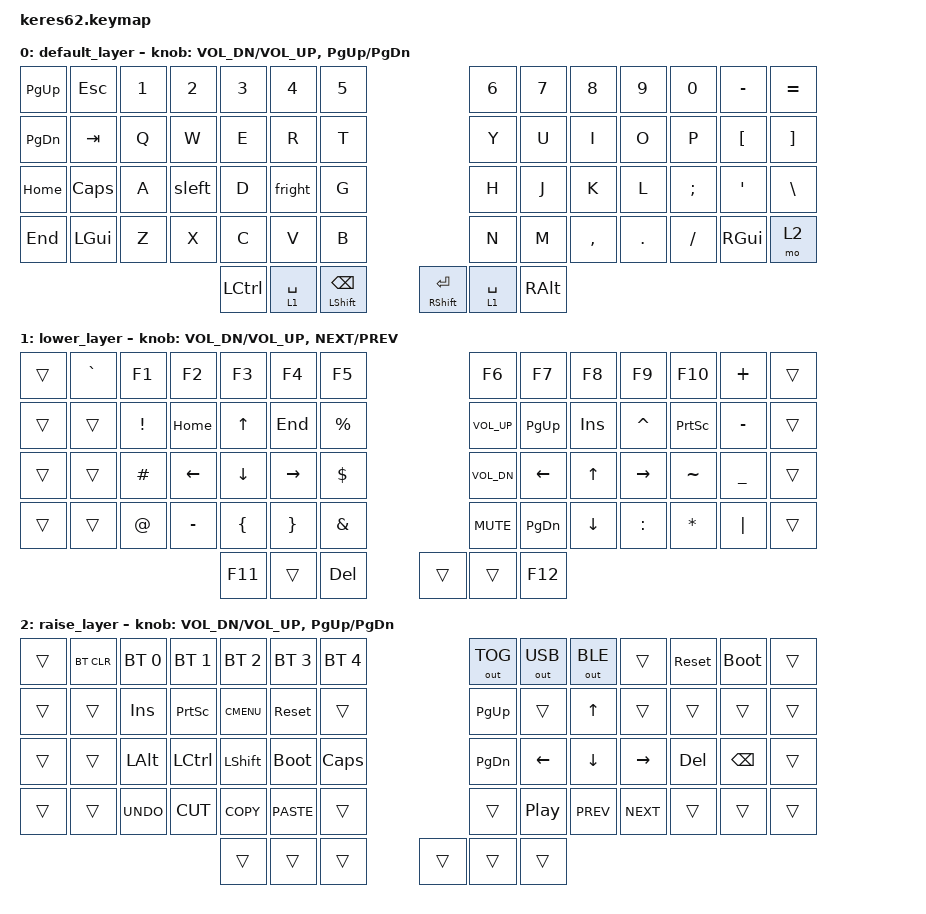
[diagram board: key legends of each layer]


#include <behaviors.dtsi>
#include <dt-bindings/zmk/keys.h>
#include <dt-bindings/zmk/bt.h>
#include <dt-bindings/zmk/outputs.h>

/ {
    combos {
        compatible = "zmk,combos";
        combo_dsklg {
            timeout-ms = <100>;
            key-positions = <24 52>;
            layers = <0>;
            bindings = <&kp LGUI>;
        };
    };

    behaviors {
        fofunc: four_ffour {
            compatible = "zmk,behavior-mod-morph";
            #binding-cells = <0>;
            bindings = <&kp N4>, <&kp F4>;
            mods = <(MOD_LALT|MOD_RALT)>;
        };
        sleft: s_left {
            compatible = "zmk,behavior-mod-morph";
            #binding-cells = <0>;
            bindings = <&kp S>, <&kp LEFT>;
            mods = <(MOD_LGUI|MOD_RGUI)>;
        };
        fright: f_right {
            compatible = "zmk,behavior-mod-morph";
            #binding-cells = <0>;
            bindings = <&kp F>, <&kp RIGHT>;
            mods = <(MOD_LGUI|MOD_RGUI)>;
        };
    };

    keymap {
        compatible = "zmk,keymap";

        default_layer {
//   ------------------------------------------------------------------------------------------------------------
//  0|  ESC  |  1  |  2  |  3   |  4   |  5   |                     |  6   |  7    |  8    |  9   |   0   |   =   | 11
// 12|  TAB  |  Q  |  W  |  E   |  R   |  T   |                     |  Y   |  U    |  I    |  O   |   P   |   [   | 23
// 24|  SFT  |  A  |  S  |  D   |  F   |  G   |  RESET  |  | RESET  |  H   |  J    |  K    |  L   |   ;   | ' SFT | 37
// 38|  CTRL |  Z  |  X  |  C   |  V   |  B   |  MUTE   |  | PLAY   |  N   |  M    |  ,    |  .   |   /   | \ CTRL| 51
// 52                    |ENT RS|  ALT | SPACE|DELETE LW|  |ENTER RS| BSPC |  ] LW | RGUI  |                        59
            bindings = <
&kp PG_UP     &kp ESC   &kp N1 &kp N2   &kp N3     &kp N4     &kp N5                               &kp N6    &kp N7      &kp N8    &kp N9   &kp N0   &kp MINUS   &kp EQUAL
&kp PG_DN     &kp TAB   &kp Q  &kp W    &kp E      &kp R      &kp T                                &kp Y     &kp U       &kp I     &kp O    &kp P    &kp LBKT    &kp RBKT
&kp HOME      &kp CAPS  &kp A  &sleft   &kp D      &fright    &kp G                                &kp H     &kp J       &kp K     &kp L    &kp SEMI &kp SQT     &kp BSLH
&kp END       &kp LGUI  &kp Z  &kp X    &kp C      &kp V      &kp B                                &kp N     &kp M       &kp COMMA &kp DOT  &kp FSLH &kp RGUI    &mo 2
                                     &kp LCTRL  &lt 1 SPACE   &mt LSHFT BSPC          &mt RSHFT ENTER  &lt 1 SPACE &kp RALT  
            >;

            sensor-bindings = <&inc_dec_kp C_VOL_DN C_VOL_UP &inc_dec_kp PG_UP PG_DN>;
        };

        lower_layer {
// ------------------------------------------------------------------------------------------------------------
// | `     |  F1 |  F2 |  F3  |  F4  |  F5  |                   |  F6  |  F7   |  F8   |  F9  |  F10  |  F11  |
// |       |  !  | HOME|   ^  |  END |  %   |                   | VOL^ |  PGUP |  INS  |  ^   |  PSCR |   -   |
// |       |  #  |  <- |   v  | ->   |  $   |        |  |       | VOLv |    <- |   ^   |  ->  |   ~   |   _   |
// |       |  @  |  -  |  (   |  )   |  &   |        |  |       | MUTE |  PGDN |   v   |  :   |   *   |   |   |
//                     |  F11 |      |      |        |  |       |      |       |  F12  |
            bindings = <
&trans    &kp GRAVE  &kp F1    &kp F2    &kp F3      &kp F4     &kp F5                     &kp F6        &kp F7     &kp F8    &kp F9     &kp F10   &kp PLUS   &trans    
&trans    &trans     &kp EXCL  &kp HOME  &kp UP      &kp END    &kp PRCNT                  &kp C_VOL_UP  &kp PG_UP  &kp INS   &kp CARET  &kp PSCRN &kp MINUS  &trans    
&trans    &trans     &kp HASH  &kp LEFT  &kp DOWN    &kp RIGHT  &kp DLLR                   &kp C_VOL_DN  &kp LEFT   &kp UP    &kp RIGHT  &kp TILDE &kp UNDER  &trans    
&trans    &trans     &kp AT    &kp MINUS &kp LBRC    &kp RBRC   &kp AMPS                   &kp C_MUTE    &kp PG_DN  &kp DOWN  &kp COLON  &kp STAR  &kp PIPE   &trans    
                                          &kp F11     &trans     &kp DEL                  &trans        &trans     &kp F12
            >;

            sensor-bindings = <&inc_dec_kp C_VOL_DN C_VOL_UP &inc_dec_kp C_NEXT C_PREV>;
        };

        raise_layer {
// ------------------------------------------------------------------------------------------------------------
// |BTCLR| BT1  | BT2  |  BT3  |  BT4  |  BT5 |                |OUTTOG|OUTUSB| OUTBT |      | RESET | FLASH |
// |     | INS  | PSCR | GUI   | RESET |      |                | PGUP |      |   ^   |      |       |       |
// |     | ALT  | CTRL | SHIFT | FLASH | CAPS |      |  |      | PGDN |   <- |   v   |  ->  |  DEL  | BSPC  |
// |     | UNDO | CUT  | COPY  | PASTE |      |      |  |      |      |  |>  |  <|<| | |>|> |       |       |
//                     |       |       |      |      |  |      |      |      |       |
            bindings = <
&trans    &bt BT_CLR &bt BT_SEL 0 &bt BT_SEL 1 &bt BT_SEL 2 &bt BT_SEL 3 &bt BT_SEL 4                       &out OUT_TOG  &out OUT_USB  &out OUT_BLE  &trans     &sys_reset  &bootloader   &trans    
&trans    &trans     &kp INS      &kp PSCRN    &kp K_CMENU  &sys_reset   &trans                             &kp PG_UP     &trans        &kp UP        &trans     &trans      &trans        &trans    
&trans    &trans     &kp LALT     &kp LCTRL    &kp LSHFT    &bootloader  &kp CLCK                           &kp PG_DN     &kp LEFT      &kp DOWN      &kp RIGHT  &kp DEL     &kp BSPC      &trans
&trans    &trans     &kp K_UNDO   &kp K_CUT    &kp K_COPY   &kp K_PASTE  &trans                             &trans        &kp C_PP      &kp C_PREV    &kp C_NEXT &trans      &trans        &trans
                                                &trans       &trans       &trans                           &trans        &trans        &trans
            >;

            sensor-bindings = <&inc_dec_kp C_VOL_DN C_VOL_UP &inc_dec_kp PG_UP PG_DN>;
        };
    };
};

